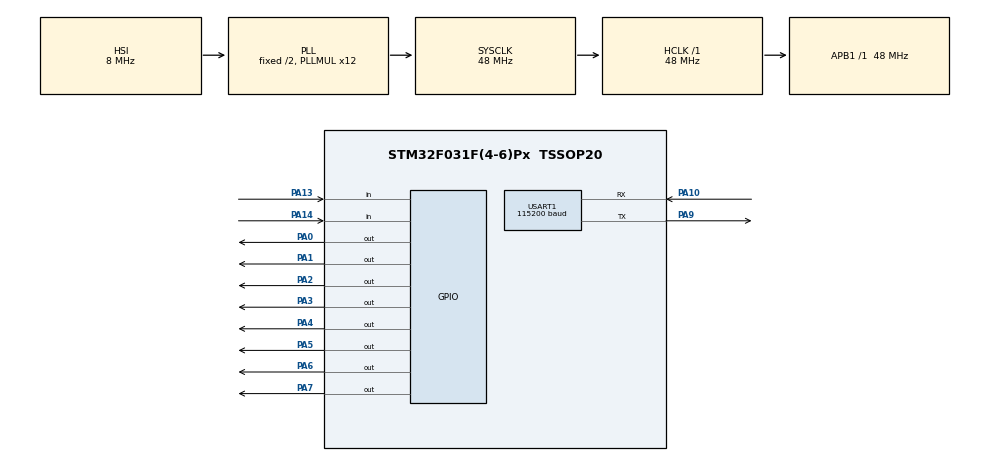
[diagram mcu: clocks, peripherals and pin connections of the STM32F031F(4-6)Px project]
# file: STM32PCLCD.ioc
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Mcu.Family=STM32F0
Mcu.Name=STM32F031F(4-6)Px
Mcu.Package=TSSOP20
NVIC.TIM3_IRQn=true\:0\:0\:false\:false\:true\:true\:true
NVIC.USART1_IRQn=true\:0\:0\:false\:false\:true\:true\:true
PA0.Signal=GPIO_Output
PA1.Signal=GPIO_Output
PA10.Mode=Asynchronous
PA10.Signal=USART1_RX
PA13.Signal=GPIO_Input
PA14.Signal=GPIO_Input
PA2.Signal=GPIO_Output
PA3.Signal=GPIO_Output
PA4.Signal=GPIO_Output
PA5.Signal=GPIO_Output
PA6.Signal=GPIO_Output
PA7.Signal=GPIO_Output
PA9.Mode=Asynchronous
PA9.Signal=USART1_TX
ProjectManager.HeapSize=0x200
ProjectManager.StackSize=0x400
ProjectManager.TargetToolchain=TrueSTUDIO
RCC.AHBFreq_Value=48000000
RCC.APB1Freq_Value=48000000
RCC.APB1TimFreq_Value=48000000
RCC.HCLKFreq_Value=48000000
RCC.PLLMUL=RCC_PLL_MUL12
RCC.SYSCLKFreq_VALUE=48000000
RCC.SYSCLKSource=RCC_SYSCLKSOURCE_PLLCLK
TIM3.AutoReloadPreload=TIM_AUTORELOAD_PRELOAD_ENABLE
TIM3.Period=65535
TIM3.Prescaler=48-1
USART1.BaudRate=115200
USART1.VirtualMode-Asynchronous=VM_ASYNC
VP_TIM3_VS_ClockSourceINT.Mode=Internal
board=custom

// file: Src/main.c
/* USER CODE BEGIN Header */
/**
  ******************************************************************************
  * @file           : main.c
  * @brief          : Main program body
  ******************************************************************************
  * @attention
  *
  * <h2><center>&copy; Copyright (c) 2020 STMicroelectronics.
  * All rights reserved.</center></h2>
  *
  * This software component is licensed by ST under BSD 3-Clause license,
  * the "License"; You may not use this file except in compliance with the
  * License. You may obtain a copy of the License at:
  *                        opensource.org/licenses/BSD-3-Clause
  *
  ******************************************************************************
  */
/* USER CODE END Header */

#include "main.h"
#include "tim.h"
#include "usart.h"
#include "gpio.h"

/* USER CODE BEGIN Includes */
#include <stdio.h>
#include <string.h>
/* USER CODE END Includes */

/* USER CODE BEGIN PD */
#define LCD_GPIO GPIOA
#define LCD_STB GPIO_PIN_0
#define LCD_CLK GPIO_PIN_1
#define LCD_DIO GPIO_PIN_2

#define SERIAL_START_FLAG 0xa0
#define SERIAL_END_FLAG 0x0a
#define SERIAL_RECV_COUNTER_MAX 15 //0xa0 , (mem map) , CMD , 0x0a//
/* USER CODE END PD */

/* USER CODE BEGIN PV */
uint8_t SBUFSingel = 0;
uint8_t SBUF[SERIAL_RECV_COUNTER_MAX] = {0};

uint8_t SerialAllowRecv = 0;
uint8_t SerialAllowProcess = 0;

uint8_t SerialRecvCounter = 0;

const uint8_t MEM_MAP[12] = {0x00, 0x01, 0x02, 0x03, 0x04, 0x05, 0x06, 0x08, 0x0a, 0x0c, 0x0e, 0x0f};

uint8_t df = 0x0d;

/* USER CODE END PV */

void SystemClock_Config(void);
/* USER CODE BEGIN PFP */

void SerialPKGProc(uint8_t *Buf);

//========LCD DEVER=========//
//low
void GPIO_init();
void STB_Clear();
void sendBytes(uint8_t res);
//mid
void sendCommand(uint8_t res);
void LCD_memset(uint8_t adr, uint8_t dat);

/* USER CODE END PFP */

int main(void)
{

      /* MCU Configuration--------------------------------------------------------*/

      /* Reset of all peripherals, Initializes the Flash interface and the Systick. */
      HAL_Init();

      /* Configure the system clock */
      SystemClock_Config();

      /* Initialize all configured peripherals */
      MX_GPIO_Init();
      MX_USART1_UART_Init();
      MX_TIM3_Init();
      /* USER CODE BEGIN 2 */
      GPIO_init();
      sendCommand(0x44);
      sendCommand(0x88);
      HAL_UART_Receive_IT(&huart1, &SBUFSingel, 1);
      /* USER CODE END 2 */

      /* Infinite loop */
      /* USER CODE BEGIN WHILE */
      while (1)
      {
            HAL_Delay(1);

            if (SerialAllowProcess == 1)
            {
                  SerialPKGProc(SBUF);
                  HAL_UART_Transmit(&huart1, (uint8_t *)&df, 1, 0xffff);
                  SerialAllowProcess = 0;
                  //HAL_GPIO_WritePin(GPIOA,GPIO_PIN_7,1);
                  HAL_GPIO_WritePin(GPIOA,GPIO_PIN_3,1);
                  HAL_Delay(1);
                  //HAL_GPIO_WritePin(GPIOA,GPIO_PIN_7,0);
                  HAL_GPIO_WritePin(GPIOA,GPIO_PIN_3,0);
            }

            /* USER CODE END WHILE */

      }
}

void SystemClock_Config(void)
{
      RCC_OscInitTypeDef RCC_OscInitStruct = {0};
      RCC_ClkInitTypeDef RCC_ClkInitStruct = {0};
      RCC_PeriphCLKInitTypeDef PeriphClkInit = {0};

      /** Initializes the CPU, AHB and APB busses clocks
  */
      RCC_OscInitStruct.OscillatorType = RCC_OSCILLATORTYPE_HSI;
      RCC_OscInitStruct.HSIState = RCC_HSI_ON;
      RCC_OscInitStruct.HSICalibrationValue = RCC_HSICALIBRATION_DEFAULT;
      RCC_OscInitStruct.PLL.PLLState = RCC_PLL_ON;
      RCC_OscInitStruct.PLL.PLLSource = RCC_PLLSOURCE_HSI;
      RCC_OscInitStruct.PLL.PLLMUL = RCC_PLL_MUL12;
      RCC_OscInitStruct.PLL.PREDIV = RCC_PREDIV_DIV1;
      if (HAL_RCC_OscConfig(&RCC_OscInitStruct) != HAL_OK)
      {
            Error_Handler();
      }
      /** Initializes the CPU, AHB and APB busses clocks
  */
      RCC_ClkInitStruct.ClockType = RCC_CLOCKTYPE_HCLK | RCC_CLOCKTYPE_SYSCLK | RCC_CLOCKTYPE_PCLK1;
      RCC_ClkInitStruct.SYSCLKSource = RCC_SYSCLKSOURCE_PLLCLK;
      RCC_ClkInitStruct.AHBCLKDivider = RCC_SYSCLK_DIV1;
      RCC_ClkInitStruct.APB1CLKDivider = RCC_HCLK_DIV1;

      if (HAL_RCC_ClockConfig(&RCC_ClkInitStruct, FLASH_LATENCY_1) != HAL_OK)
      {
            Error_Handler();
      }
      PeriphClkInit.PeriphClockSelection = RCC_PERIPHCLK_USART1;
      PeriphClkInit.Usart1ClockSelection = RCC_USART1CLKSOURCE_PCLK1;
      if (HAL_RCCEx_PeriphCLKConfig(&PeriphClkInit) != HAL_OK)
      {
            Error_Handler();
      }
}

/* USER CODE BEGIN 4 */

void HAL_UART_RxCpltCallback(UART_HandleTypeDef *huart)
{
      if (huart->Instance == USART1)
      {
            if (SerialAllowRecv == 0)
            {
                  if (SBUFSingel == SERIAL_START_FLAG)
                  {
                        SerialAllowRecv = 1;
                  } //SERIAL_START_FLAG
            }

            if (SerialAllowRecv == 1)
            {
                  SBUF[SerialRecvCounter] = SBUFSingel;
                  SerialRecvCounter++;

                  if (SerialRecvCounter == SERIAL_RECV_COUNTER_MAX)
                  {
                        SerialRecvCounter = 0;
                        SerialAllowRecv = 0;
                        if (SBUF[(SERIAL_RECV_COUNTER_MAX - 1)] == SERIAL_END_FLAG)
                        {

                              if (SerialAllowProcess == 0)
                              {
                                    SerialAllowProcess = 1;
                              }

                        } //SERIAL_END_FLAG

                  } //SERIAL_RECV_COUNTER_MAX

            } //SerialAllowRecv

            HAL_UART_Receive_IT(&huart1, &SBUFSingel, 1);
      }
}

void SerialPKGProc(uint8_t *Buf)
{
      if (Buf[0] == SERIAL_START_FLAG && Buf[(SERIAL_RECV_COUNTER_MAX - 1)] == SERIAL_END_FLAG)
      {
            /*for (uint8_t i = 0; i < SERIAL_RECV_COUNTER_MAX; i++)
            {
                  printf("0x%x,", Buf[i]);
            }
            printf("\r\n");*/

            for (uint8_t i = 0; i < 12; i++)
            {
                  //printf("mem %d -> 0x%x\r\n", MEM_MAP[i], Buf[i + 1]);
                  LCD_memset(MEM_MAP[i], Buf[i + 1]);
            }

            if (Buf[(SERIAL_RECV_COUNTER_MAX - 2)] != 0)
            {
                  //printf("cmd : 0x%x\r\n", Buf[(SERIAL_RECV_COUNTER_MAX - 2)]);
                  sendCommand(Buf[(SERIAL_RECV_COUNTER_MAX - 2)]);
            }

            memset((void *)SBUF, 0x00, SERIAL_RECV_COUNTER_MAX);
      }
}

void GPIO_init()
{
      HAL_GPIO_WritePin(LCD_GPIO, LCD_STB, 0);
      HAL_GPIO_WritePin(LCD_GPIO, LCD_CLK, 1);
      HAL_GPIO_WritePin(LCD_GPIO, LCD_DIO, 0);
}

void STB_Clear()
{
      delayMicroseconds(10);
      HAL_GPIO_WritePin(LCD_GPIO, LCD_STB, 1);
      delayMicroseconds(10);
      HAL_GPIO_WritePin(LCD_GPIO, LCD_STB, 0);
      delayMicroseconds(10);
}

void sendBytes(uint8_t res)
{
      uint8_t tmp = res;
      uint8_t outSta = 0;
      for (uint8_t i = 0; i < 8; ++i)
      {
            outSta = tmp & 0x01;

            HAL_GPIO_WritePin(LCD_GPIO, LCD_CLK, 0);
            delayMicroseconds(10);
            HAL_GPIO_WritePin(LCD_GPIO, LCD_DIO, outSta);
            delayMicroseconds(10);
            HAL_GPIO_WritePin(LCD_GPIO, LCD_CLK, 1);
            delayMicroseconds(10);

            tmp = tmp >> 1;
      }
}

void sendCommand(uint8_t res)
{
      STB_Clear();
      sendBytes(res);
}

void LCD_memset(uint8_t adr, uint8_t dat)
{
      uint8_t baseAdressCommand = 0xc0;
      uint8_t AdressLow4B = adr & 0x0f;
      baseAdressCommand = baseAdressCommand | AdressLow4B;
      STB_Clear();
      sendBytes(baseAdressCommand);
      sendBytes(dat);
}

int __io_putchar(int ch)
{

      HAL_UART_Transmit(&huart1, (uint8_t *)&ch, 1, 0xffff);

      return ch;
}
/* USER CODE END 4 */

void Error_Handler(void)
{
}

/************************ (C) COPYRIGHT STMicroelectronics *****END OF FILE****/
